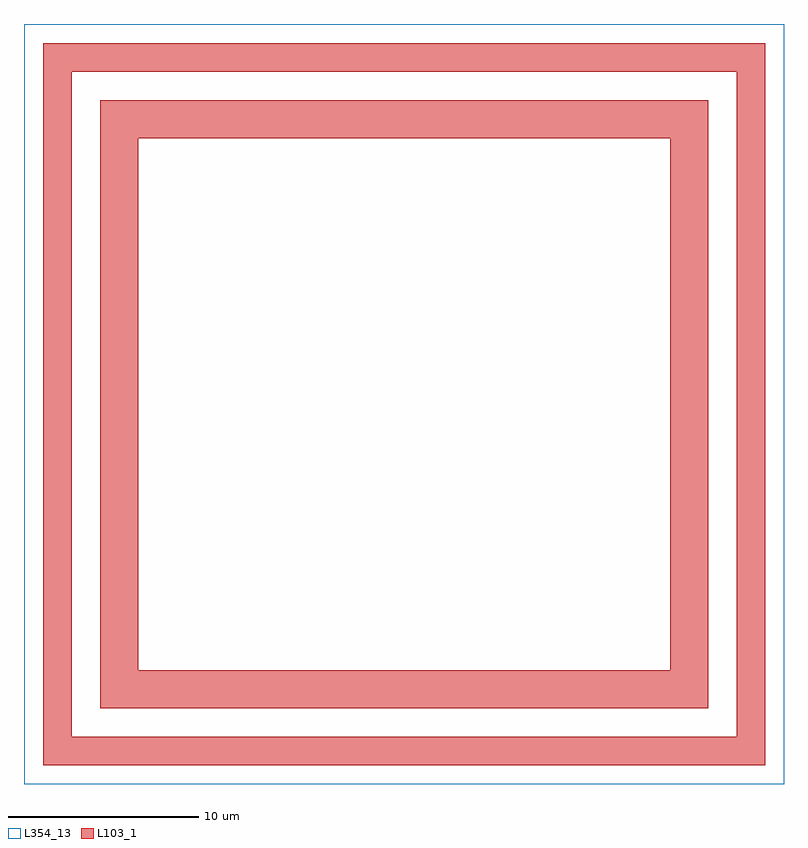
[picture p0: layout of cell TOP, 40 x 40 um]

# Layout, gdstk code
import gdstk
lib = gdstk.Library(unit=1e-6, precision=1e-09)
def R(c, l, rs):  # rectangles x0, y0, x1, y1
    for r in rs: c.add(gdstk.rectangle(r[:2], r[2:], *l))
L103_1 = (103, 1)
L354_13 = (354, 13)

top = lib.new_cell('TOP')
R(top, L103_1, [(1,1,39,2.5), (1,2.5,2.5,37.5), (37.5,2.5,39,37.5), (4,4,36,6), (4,6,6,34), (34,6,36,34), (4,34,36,36), (1,37.5,39,39)])
R(top, L354_13, [(0,0,40,40)])

lib.write_gds('TOP.gds')
